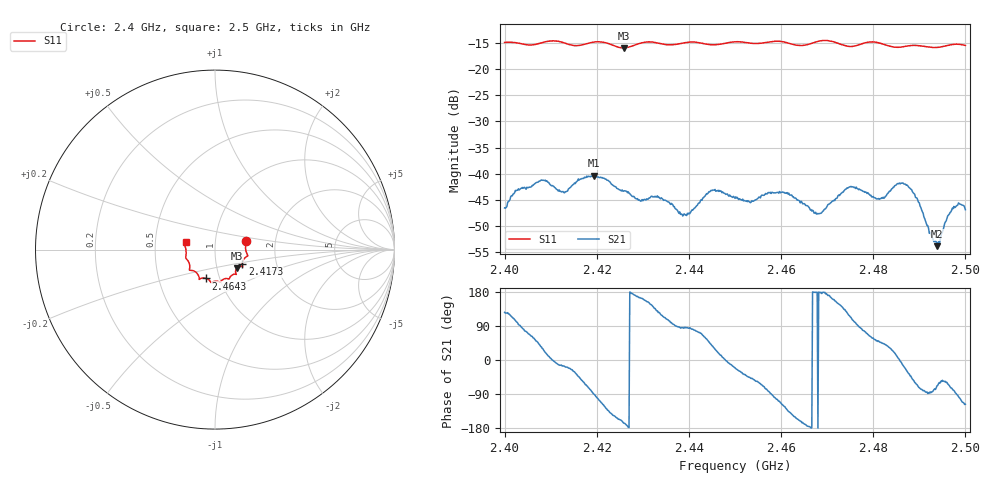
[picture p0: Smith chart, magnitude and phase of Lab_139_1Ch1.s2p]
# Hz S RI R 50
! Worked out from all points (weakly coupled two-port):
!   601 points, 2.4 GHz to 2.5 GHz, reference 50 ohm
!   highest |S21| = -40.40 dB at 2.4193 GHz (marker M1); lowest = -53.9 dB at 2.4938 GHz (marker M2)
!   lowest |S11| = -15.9 dB at 2.4258 GHz (marker M3), VSWR 1.38, Z = 62.3 - j13.3 ohm
!   |S11| at or under -10 dB: start of sweep to end of sweep
!   S12 and S22 are empty: the file has one direction only
!   S11 on the Smith chart (normalised r, x): 2.4 GHz: 1.41, +0.14; 2.4173 GHz: 1.34, -0.23; 2.4643 GHz: 0.86, -0.28; 2.5 GHz: 0.72, +0.06
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2.4e9  0.1733 0.0492  -0.00276 0.00382  0 0  0 0
2.4025e9  0.175 0.038  -0.00138 0.00675  0 0  0 0
2.407833e9  0.1768 -0.0194  0.00703 0.00503  0 0  0 0
2.412833e9  0.1747 -0.0398  0.00636 -0.00181  0 0  0 0
2.416667e9  0.1531 -0.0742  0.00541 -0.0071  0 0  0 0
2.417333e9  0.1525 -0.0818  0.00446 -0.00812  0 0  0 0
2.419333e9  0.1539 -0.096  6.11e-05 -0.00955  0 0  0 0
2.425833e9  0.1215 -0.1038  -0.00662 -0.00159  0 0  0 0
2.433333e9  0.1128 -0.1367  -0.00343 0.00485  0 0  0 0
2.439e9  0.0806 -0.1595  0.000258 0.00412  0 0  0 0
2.445167e9  0.0543 -0.1622  0.00562 0.00414  0 0  0 0
2.45e9  0.029 -0.1807  0.00544 -0.00206  0 0  0 0
2.460167e9  -0.0238 -0.1821  -0.00303 -0.00593  0 0  0 0
2.464333e9  -0.0499 -0.1607  -0.0052 -0.00169  0 0  0 0
2.466667e9  -0.0759 -0.1597  -0.00439 -7.25e-05  0 0  0 0
2.468667e9  -0.0871 -0.1656  -0.00419 0.000101  0 0  0 0
2.474833e9  -0.1045 -0.1276  -0.00339 0.00668  0 0  0 0
2.483333e9  -0.1406 -0.0902  0.00548 0.00373  0 0  0 0
2.487833e9  -0.1597 -0.0518  0.00586 -0.00443  0 0  0 0
2.493833e9  -0.1614 -0.00383  0.000747 -0.00189  0 0  0 0
2.497167e9  -0.17 0.0272  0.00108 -0.00456  0 0  0 0
2.5e9  -0.1634 0.0416  -0.00205 -0.00404  0 0  0 0
